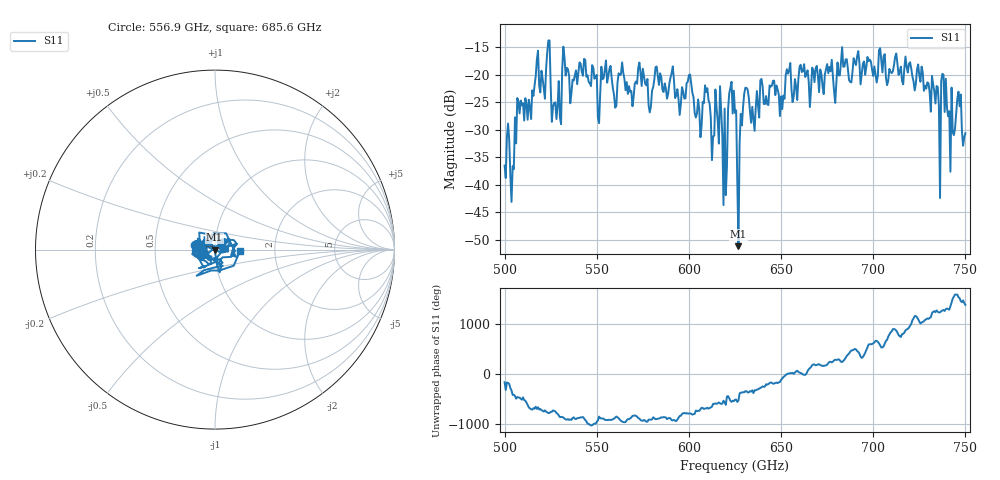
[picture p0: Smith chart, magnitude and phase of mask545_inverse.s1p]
!Created with skrf (http://scikit-rf.org).
# GHz S MA R 50.0
!freq magS11 angS11
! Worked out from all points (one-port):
!   401 points, 500 GHz to 750 GHz, reference 50 ohm
!   lowest |S11| = -51.1 dB at 626.9 GHz (marker M1), VSWR 1.01, Z = 49.7 - j0.046 ohm
!   |S11| at or under -10 dB: start of sweep to end of sweep
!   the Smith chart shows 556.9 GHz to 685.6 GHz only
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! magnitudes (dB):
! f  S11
! 500 GHz  -36.5
! 503.8 GHz  -43.1
! 508.1 GHz  -27.0
! 513.1 GHz  -24.5
! 517.5 GHz  -17.2
! 523.8 GHz  -13.8
! 526.9 GHz  -25.1
! 531.2 GHz  -18.9
! 562.5 GHz  -20.1
! 593.8 GHz  -22.6
! 610 GHz  -22.4
! 612.5 GHz  -35.5
! 616.2 GHz  -32.5
! 619.4 GHz  -26.1
! 622.5 GHz  -22.4
! 625 GHz  -26.9
! 626.9 GHz  -51.1
! 631.2 GHz  -22.4
! 634.4 GHz  -25.8
! 656.2 GHz  -25.0
! 687.5 GHz  -21.3
! 718.8 GHz  -19.6
! 733.1 GHz  -23.0
! 735 GHz  -22.2
! 738.1 GHz  -20.0
! 743.1 GHz  -30.4
! 746.2 GHz  -23.1
! 750 GHz  -30.6
